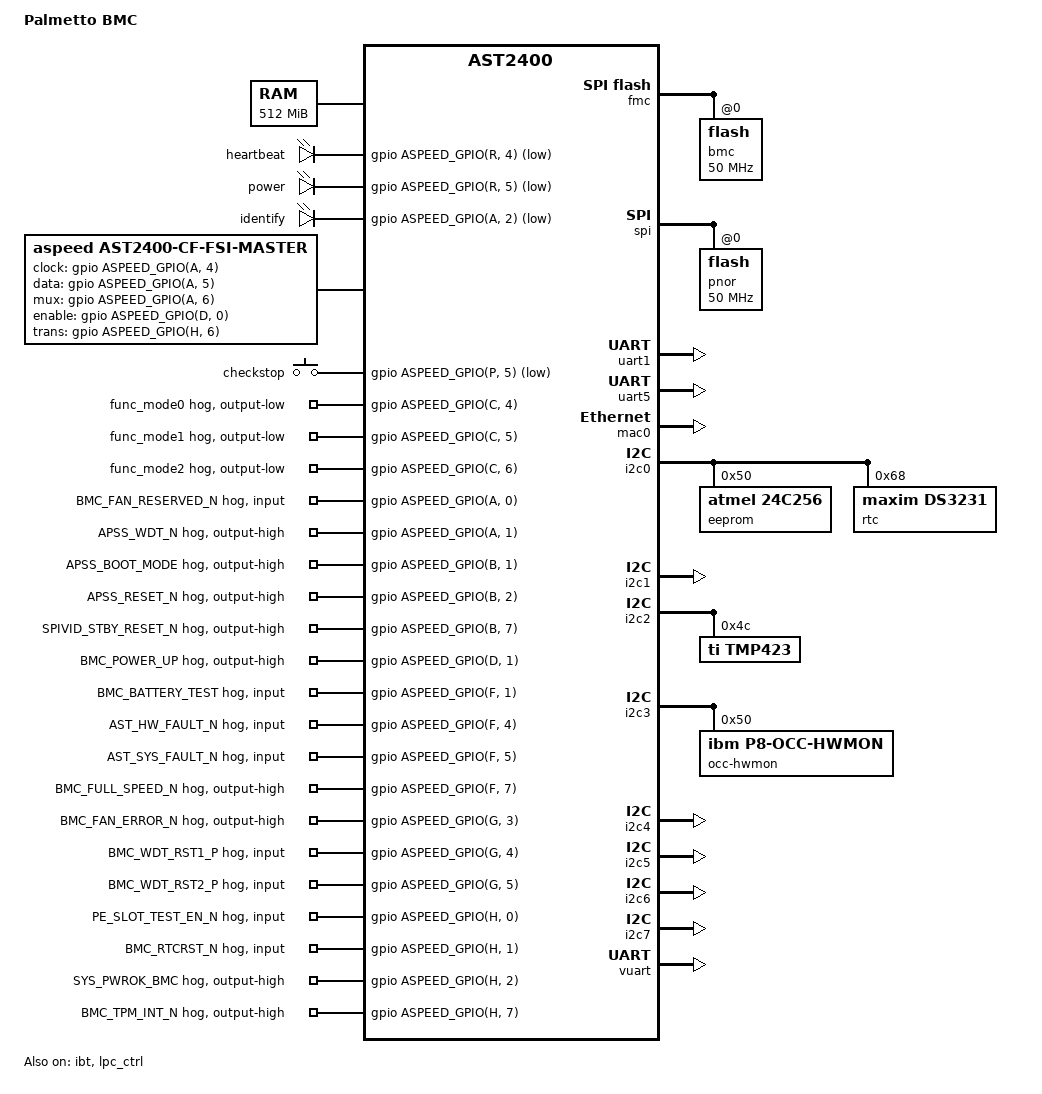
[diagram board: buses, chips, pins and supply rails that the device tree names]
// SPDX-License-Identifier: GPL-2.0+
/dts-v1/;

#include "aspeed-g4.dtsi"
#include <dt-bindings/gpio/aspeed-gpio.h>

/ {
	model = "Palmetto BMC";
	compatible = "tyan,palmetto-bmc", "aspeed,ast2400";

	chosen {
		stdout-path = &uart5;
		bootargs = "console=ttyS4,115200 earlycon";
	};

	memory@40000000 {
		reg = <0x40000000 0x20000000>;
	};

	reserved-memory {
		#address-cells = <1>;
		#size-cells = <1>;
		ranges;

		vga_memory: framebuffer@5f000000 {
			no-map;
			reg = <0x5f000000 0x01000000>; /* 16M */
		};

		coldfire_memory: codefire_memory@5ee00000 {
			reg = <0x5ee00000 0x00200000>;
			no-map;
		};

		flash_memory: region@5c000000 {
			no-map;
			reg = <0x5C000000 0x02000000>; /* 32MB */
		};
	};

	leds {
		compatible = "gpio-leds";

		heartbeat {
			gpios = <&gpio ASPEED_GPIO(R, 4) GPIO_ACTIVE_LOW>;
		};

		power {
			gpios = <&gpio ASPEED_GPIO(R, 5) GPIO_ACTIVE_LOW>;
		};

		identify {
			gpios = <&gpio ASPEED_GPIO(A, 2) GPIO_ACTIVE_LOW>;
		};
	};

	fsi: gpio-fsi {
		compatible = "aspeed,ast2400-cf-fsi-master";
		#address-cells = <2>;
		#size-cells = <0>;

		memory-region = <&coldfire_memory>;
		aspeed,sram = <&sram>;
		aspeed,cvic = <&cvic>;

		clock-gpios = <&gpio ASPEED_GPIO(A, 4) GPIO_ACTIVE_HIGH>;
		data-gpios = <&gpio ASPEED_GPIO(A, 5) GPIO_ACTIVE_HIGH>;
		mux-gpios = <&gpio ASPEED_GPIO(A, 6) GPIO_ACTIVE_HIGH>;
		enable-gpios = <&gpio ASPEED_GPIO(D, 0) GPIO_ACTIVE_HIGH>;
		trans-gpios = <&gpio ASPEED_GPIO(H, 6) GPIO_ACTIVE_HIGH>;
	};

	gpio-keys {
		compatible = "gpio-keys";

		event-checkstop {
			label = "checkstop";
			gpios = <&gpio ASPEED_GPIO(P, 5) GPIO_ACTIVE_LOW>;
			linux,code = <ASPEED_GPIO(P, 5)>;
		};
	};
};

&fmc {
	status = "okay";
	flash@0 {
		status = "okay";
		m25p,fast-read;
		label = "bmc";
		spi-max-frequency = <50000000>;
#include "openbmc-flash-layout.dtsi"
	};
};

&spi {
	status = "okay";
	pinctrl-names = "default";
	pinctrl-0 = <&pinctrl_spi1debug_default>;

	flash@0 {
		status = "okay";
		m25p,fast-read;
		spi-max-frequency = <50000000>;
		label = "pnor";
	};
};

&pinctrl {
	pinctrl-names = "default";
	pinctrl-0 = <&pinctrl_flbusy_default &pinctrl_flwp_default

			&pinctrl_vgahs_default &pinctrl_vgavs_default
			&pinctrl_ddcclk_default &pinctrl_ddcdat_default>;
};

&uart1 {
	/* Rear RS-232 connector */
	status = "okay";

	pinctrl-names = "default";
	pinctrl-0 = <&pinctrl_txd1_default
			&pinctrl_rxd1_default
			&pinctrl_nrts1_default
			&pinctrl_ndtr1_default
			&pinctrl_ndsr1_default
			&pinctrl_ncts1_default
			&pinctrl_ndcd1_default
			&pinctrl_nri1_default>;
};

&uart5 {
	status = "okay";
};

&mac0 {
	status = "okay";

	use-ncsi;

	pinctrl-names = "default";
	pinctrl-0 = <&pinctrl_rmii1_default>;
};

&i2c0 {
	status = "okay";

	eeprom@50 {
		compatible = "atmel,24c256";
		reg = <0x50>;
		pagesize = <64>;
	};

	rtc@68 {
		compatible = "maxim,ds3231";
		reg = <0x68>;
	};
};

&i2c1 {
	status = "okay";
};

&i2c2 {
	status = "okay";

	tmp423@4c {
		compatible = "ti,tmp423";
		reg = <0x4c>;
	};
};

&i2c3 {
	status = "okay";

	occ-hwmon@50 {
		compatible = "ibm,p8-occ-hwmon";
		reg = <0x50>;
	};
};

&i2c4 {
	status = "okay";
};

&i2c5 {
	status = "okay";
};

&i2c6 {
	status = "okay";
};

&i2c7 {
	status = "okay";
};

&vuart {
	status = "okay";
};

&ibt {
	status = "okay";
};

&lpc_ctrl {
	status = "okay";
	memory-region = <&flash_memory>;
	flash = <&spi>;
};

&gpio {
	pin-func-mode0-hog {
		gpio-hog;
		gpios = <ASPEED_GPIO(C, 4) GPIO_ACTIVE_HIGH>;
		output-low;
		line-name = "func_mode0";
	};

	pin-func-mode1-hog {
		gpio-hog;
		gpios = <ASPEED_GPIO(C, 5)  GPIO_ACTIVE_HIGH>;
		output-low;
		line-name = "func_mode1";
	};

	pin-func-mode2-hog {
		gpio-hog;
		gpios = <ASPEED_GPIO(C, 6) GPIO_ACTIVE_HIGH>;
		output-low;
		line-name = "func_mode2";
	};

	pin-gpio-a0-hog {
		gpio-hog;
		gpios = <ASPEED_GPIO(A, 0) GPIO_ACTIVE_HIGH>;
		input;
		line-name = "BMC_FAN_RESERVED_N";
	};

	pin-gpio-a1-hog {
		gpio-hog;
		gpios = <ASPEED_GPIO(A, 1) GPIO_ACTIVE_HIGH>;
		output-high;
		line-name = "APSS_WDT_N";
	};

	pin-gpio-b1-hog {
		gpio-hog;
		gpios = <ASPEED_GPIO(B, 1) GPIO_ACTIVE_HIGH>;
		output-high;
		line-name = "APSS_BOOT_MODE";
	};

	pin-gpio-b2-hog {
		gpio-hog;
		gpios = <ASPEED_GPIO(B, 2) GPIO_ACTIVE_HIGH>;
		output-high;
		line-name = "APSS_RESET_N";
	};

	pin-gpio-b7-hog {
		gpio-hog;
		gpios = <ASPEED_GPIO(B, 7) GPIO_ACTIVE_HIGH>;
		output-high;
		line-name = "SPIVID_STBY_RESET_N";
	};

	pin-gpio-d1-hog {
		gpio-hog;
		gpios = <ASPEED_GPIO(D, 1) GPIO_ACTIVE_HIGH>;
		output-high;
		line-name = "BMC_POWER_UP";
	};

	pin-gpio-f1-hog {
		gpio-hog;
		gpios = <ASPEED_GPIO(F, 1) GPIO_ACTIVE_HIGH>;
		input;
		line-name = "BMC_BATTERY_TEST";
	};

	pin-gpio-f4-hog {
		gpio-hog;
		gpios = <ASPEED_GPIO(F, 4) GPIO_ACTIVE_HIGH>;
		input;
		line-name = "AST_HW_FAULT_N";
	};

	pin-gpio-f5-hog {
		gpio-hog;
		gpios = <ASPEED_GPIO(F, 5) GPIO_ACTIVE_HIGH>;
		input;
		line-name = "AST_SYS_FAULT_N";
	};

	pin-gpio-f7-hog {
		gpio-hog;
		gpios = <ASPEED_GPIO(F, 7) GPIO_ACTIVE_HIGH>;
		output-high;
		line-name = "BMC_FULL_SPEED_N";
	};

	pin-gpio-g3-hog {
		gpio-hog;
		gpios = <ASPEED_GPIO(G, 3) GPIO_ACTIVE_HIGH>;
		output-high;
		line-name = "BMC_FAN_ERROR_N";
	};

	pin-gpio-g4-hog {
		gpio-hog;
		gpios = <ASPEED_GPIO(G, 4) GPIO_ACTIVE_HIGH>;
		input;
		line-name = "BMC_WDT_RST1_P";
	};

	pin-gpio-g5-hog {
		gpio-hog;
		gpios = <ASPEED_GPIO(G, 5) GPIO_ACTIVE_HIGH>;
		input;
		line-name = "BMC_WDT_RST2_P";
	};

	pin-gpio-h0-hog {
		gpio-hog;
		gpios = <ASPEED_GPIO(H, 0) GPIO_ACTIVE_HIGH>;
		input;
		line-name = "PE_SLOT_TEST_EN_N";
	};

	pin-gpio-h1-hog {
		gpio-hog;
		gpios = <ASPEED_GPIO(H, 1) GPIO_ACTIVE_HIGH>;
		input;
		line-name = "BMC_RTCRST_N";
	};

	pin-gpio-h2-hog {
		gpio-hog;
		gpios = <ASPEED_GPIO(H, 2) GPIO_ACTIVE_HIGH>;
		output-high;
		line-name = "SYS_PWROK_BMC";
	};

	pin-gpio-h7-hog {
		gpio-hog;
		gpios = <ASPEED_GPIO(H, 7) GPIO_ACTIVE_HIGH>;
		output-high;
		line-name = "BMC_TPM_INT_N";
	};
};

&fsi {
	cfam@0,0 {
		reg = <0 0>;
		#address-cells = <1>;
		#size-cells = <1>;
		chip-id = <0>;

		scom@1000 {
			compatible = "ibm,fsi2pib";
			reg = <0x1000 0x400>;
		};

		fsi_hub0: hub@3400 {
			compatible = "ibm,fsi-master-hub";
			reg = <0x3400 0x400>;
			#address-cells = <2>;
			#size-cells = <0>;
			no-scan-on-init;
		};
	};
};
